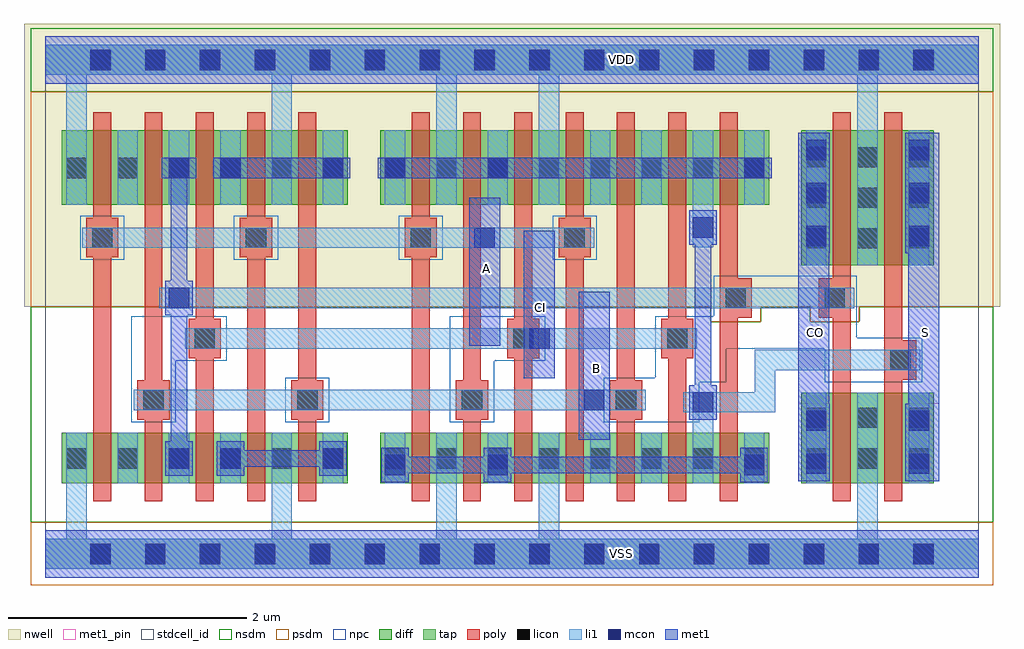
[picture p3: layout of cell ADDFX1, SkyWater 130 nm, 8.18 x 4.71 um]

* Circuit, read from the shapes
.subckt ADDFX1 A B CI CO S VDD VSS
XM1 n1 A VSS VSS sky130_fd_pr__nfet_01v8 w=0.425 l=0.15
XM2 n2 B n1 VSS sky130_fd_pr__nfet_01v8 w=0.425 l=0.15
XM3 n3 CI n2 VSS sky130_fd_pr__nfet_01v8 w=0.425 l=0.15
XM4 VSS A n3 VSS sky130_fd_pr__nfet_01v8 w=0.425 l=0.15
XM5 n3 B VSS VSS sky130_fd_pr__nfet_01v8 w=0.425 l=0.15
XM6 VSS A n4 VSS sky130_fd_pr__nfet_01v8 w=0.425 l=0.15
XM7 n4 B VSS VSS sky130_fd_pr__nfet_01v8 w=0.425 l=0.15
XM8 VSS CI n4 VSS sky130_fd_pr__nfet_01v8 w=0.425 l=0.15
XM9 n5 A VSS VSS sky130_fd_pr__nfet_01v8 w=0.425 l=0.15
XM10 n6 B n5 VSS sky130_fd_pr__nfet_01v8 w=0.425 l=0.15
XM11 n7 CI n6 VSS sky130_fd_pr__nfet_01v8 w=0.425 l=0.15
XM12 n4 n2 n7 VSS sky130_fd_pr__nfet_01v8 w=0.425 l=0.15
XM13 VSS n2 CO VSS sky130_fd_pr__nfet_01v8 w=0.76 l=0.15
XM14 S n7 VSS VSS sky130_fd_pr__nfet_01v8 w=0.76 l=0.15
XM15 n8 A VDD VDD sky130_fd_pr__pfet_01v8 w=0.625 l=0.15
XM16 n2 B n8 VDD sky130_fd_pr__pfet_01v8 w=0.625 l=0.15
XM17 n9 CI n2 VDD sky130_fd_pr__pfet_01v8 w=0.625 l=0.15
XM18 VDD A n9 VDD sky130_fd_pr__pfet_01v8 w=0.625 l=0.15
XM19 n9 B VDD VDD sky130_fd_pr__pfet_01v8 w=0.625 l=0.15
XM20 VDD A n10 VDD sky130_fd_pr__pfet_01v8 w=0.625 l=0.15
XM21 n10 B VDD VDD sky130_fd_pr__pfet_01v8 w=0.625 l=0.15
XM22 VDD CI n10 VDD sky130_fd_pr__pfet_01v8 w=0.625 l=0.15
XM23 n11 A VDD VDD sky130_fd_pr__pfet_01v8 w=0.625 l=0.15
XM24 n12 B n11 VDD sky130_fd_pr__pfet_01v8 w=0.625 l=0.15
XM25 n7 CI n12 VDD sky130_fd_pr__pfet_01v8 w=0.625 l=0.15
XM26 n10 n2 n7 VDD sky130_fd_pr__pfet_01v8 w=0.625 l=0.15
XM27 VDD n2 CO VDD sky130_fd_pr__pfet_01v8 w=1.13 l=0.15
XM28 S n7 VDD VDD sky130_fd_pr__pfet_01v8 w=1.13 l=0.15
.ends

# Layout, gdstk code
from math import pi, radians
import gdstk
lib = gdstk.Library(unit=1e-6, precision=1e-09)
def R(c, l, rs):  # rectangles x0, y0, x1, y1
    for r in rs: c.add(gdstk.rectangle(r[:2], r[2:], *l))
def A(c, l, x, y, w, h, nx, ny, dx, dy):  # array of equal rectangles
    R(c, l, [(x+i*dx, y+j*dy, x+i*dx+w, y+j*dy+h) for i in range(nx) for j in range(ny)])
def P(c, l, *ps):  # polygons
    for p in ps: c.add(gdstk.Polygon(p, *l))
nwell = (64, 20)
diff = (65, 20)
tap = (65, 44)
poly = (66, 20)
licon = (66, 44)
li1 = (67, 20)
mcon = (67, 44)
met1_pin = (68, 16)
met1 = (68, 20)
stdcell_id = (81, 4)
nsdm = (93, 44)
psdm = (94, 20)
npc = (95, 20)

pfet_01v8_cdns_716492285 = lib.new_cell('pfet_01v8_CDNS_7164922852212')
R(pfet_01v8_cdns_716492285, nwell, [(-0.405,-0.18,0.595,1.31)])
R(pfet_01v8_cdns_716492285, diff, [(-0.225,0,0,1.13), (0,0,0.15,1.13), (0.15,0,0.415,1.13)])
R(pfet_01v8_cdns_716492285, poly, [(0,-0.15,0.15,-0.095), (0,-0.095,0.15,0), (0,0,0.15,1.13), (0,1.13,0.15,1.225), (0,1.225,0.15,1.28)])
A(pfet_01v8_cdns_716492285, licon, -0.225, 0.14, 0.17, 0.17, 1, 3, 0, 0.34)
A(pfet_01v8_cdns_716492285, licon, 0.205, 0.14, 0.17, 0.17, 1, 3, 0, 0.34)
R(pfet_01v8_cdns_716492285, li1, [(-0.225,0,-0.055,1.13), (0.205,0,0.375,1.13)])
R(pfet_01v8_cdns_716492285, psdm, [(-0.235,-0.13,0.555,1.26)])

nfet_01v8_cdns_716492285 = lib.new_cell('nfet_01v8_CDNS_71649228522111')
R(nfet_01v8_cdns_716492285, diff, [(-0.225,0,0,0.425), (0,0,0.15,0.425), (0.15,0,0.375,0.425)])
R(nfet_01v8_cdns_716492285, poly, [(0,-0.15,0.15,-0.095), (0,-0.095,0.15,0), (0,0,0.15,0.425), (0,0.425,0.15,0.52), (0,0.52,0.15,0.575)])
R(nfet_01v8_cdns_716492285, licon, [(-0.225,0.125,-0.055,0.295), (0.205,0.125,0.375,0.295)])
R(nfet_01v8_cdns_716492285, li1, [(-0.225,0,-0.055,0.425), (0.205,0,0.375,0.425)])
R(nfet_01v8_cdns_716492285, nsdm, [(-0.235,-0.13,0.385,0.555)])

c_nfet_01v8_cdns_716492285 = lib.new_cell('nfet_01v8_CDNS_7164922852288')
R(c_nfet_01v8_cdns_716492285, diff, [(-0.055,0,0,0.425), (0,0,0.15,0.425), (0.15,0,0.205,0.425)])
R(c_nfet_01v8_cdns_716492285, poly, [(0,-0.15,0.15,-0.095), (0,-0.095,0.15,0), (0,0,0.15,0.425), (0,0.425,0.15,0.52), (0,0.52,0.15,0.575)])
R(c_nfet_01v8_cdns_716492285, nsdm, [(-0.065,-0.13,0.215,0.555)])

c_nfet_01v8_cdns_716492285_ = lib.new_cell('nfet_01v8_CDNS_716492285223')
R(c_nfet_01v8_cdns_716492285_, diff, [(-0.055,0,0,0.76), (0,0,0.15,0.76), (0.15,0,0.415,0.76)])
R(c_nfet_01v8_cdns_716492285_, poly, [(0,-0.15,0.15,-0.095), (0,-0.095,0.15,0), (0,0,0.15,0.76), (0,0.76,0.15,0.855), (0,0.855,0.15,0.91)])
R(c_nfet_01v8_cdns_716492285_, licon, [(0.205,0.125,0.375,0.295), (0.205,0.465,0.375,0.635)])
R(c_nfet_01v8_cdns_716492285_, li1, [(0.205,0,0.375,0.76)])
R(c_nfet_01v8_cdns_716492285_, nsdm, [(-0.065,-0.13,0.555,0.89)])

c_pfet_01v8_cdns_716492285 = lib.new_cell('pfet_01v8_CDNS_7164922852219')
R(c_pfet_01v8_cdns_716492285, nwell, [(-0.405,-0.18,0.595,0.805)])
R(c_pfet_01v8_cdns_716492285, diff, [(-0.225,0,0,0.625), (0,0,0.15,0.625), (0.15,0,0.415,0.625)])
R(c_pfet_01v8_cdns_716492285, poly, [(0,-0.15,0.15,-0.095), (0,-0.095,0.15,0), (0,0,0.15,0.625), (0,0.625,0.15,0.72), (0,0.72,0.15,0.775)])
R(c_pfet_01v8_cdns_716492285, licon, [(-0.225,0.225,-0.055,0.395), (0.205,0.225,0.375,0.395)])
R(c_pfet_01v8_cdns_716492285, li1, [(-0.225,0,-0.055,0.625), (0.205,0,0.375,0.625)])
R(c_pfet_01v8_cdns_716492285, psdm, [(-0.235,-0.13,0.555,0.755)])

c_pfet_01v8_cdns_716492285_ = lib.new_cell('pfet_01v8_CDNS_71649228522239')
R(c_pfet_01v8_cdns_716492285_, nwell, [(-0.445,-0.18,0.555,0.805)])
R(c_pfet_01v8_cdns_716492285_, diff, [(-0.265,0,0,0.625), (0,0,0.15,0.625), (0.15,0,0.375,0.625)])
R(c_pfet_01v8_cdns_716492285_, poly, [(0,-0.15,0.15,-0.095), (0,-0.095,0.15,0), (0,0,0.15,0.625), (0,0.625,0.15,0.72), (0,0.72,0.15,0.775)])
R(c_pfet_01v8_cdns_716492285_, licon, [(-0.225,0.225,-0.055,0.395)])
R(c_pfet_01v8_cdns_716492285_, li1, [(-0.225,0,-0.055,0.625)])
R(c_pfet_01v8_cdns_716492285_, psdm, [(-0.405,-0.13,0.385,0.755)])

c_pfet_01v8_cdns_716492285__ = lib.new_cell('pfet_01v8_CDNS_7164922852217')
R(c_pfet_01v8_cdns_716492285__, nwell, [(-0.235,-0.18,0.595,0.805)])
R(c_pfet_01v8_cdns_716492285__, diff, [(-0.055,0,0,0.625), (0,0,0.15,0.625), (0.15,0,0.415,0.625)])
R(c_pfet_01v8_cdns_716492285__, poly, [(0,-0.15,0.15,-0.095), (0,-0.095,0.15,0), (0,0,0.15,0.625), (0,0.625,0.15,0.72), (0,0.72,0.15,0.775)])
R(c_pfet_01v8_cdns_716492285__, licon, [(0.205,0.225,0.375,0.395)])
R(c_pfet_01v8_cdns_716492285__, li1, [(0.205,0,0.375,0.625)])
R(c_pfet_01v8_cdns_716492285__, psdm, [(-0.065,-0.13,0.555,0.755)])

c_pfet_01v8_cdns_716492285___ = lib.new_cell('pfet_01v8_CDNS_7164922852222')
R(c_pfet_01v8_cdns_716492285___, nwell, [(-0.235,-0.18,0.555,0.805)])
R(c_pfet_01v8_cdns_716492285___, diff, [(-0.055,0,0,0.625), (0,0,0.15,0.625), (0.15,0,0.375,0.625)])
R(c_pfet_01v8_cdns_716492285___, poly, [(0,-0.15,0.15,-0.095), (0,-0.095,0.15,0), (0,0,0.15,0.625), (0,0.625,0.15,0.72), (0,0.72,0.15,0.775)])
R(c_pfet_01v8_cdns_716492285___, licon, [(0.205,0.225,0.375,0.395)])
R(c_pfet_01v8_cdns_716492285___, li1, [(0.205,0,0.375,0.625)])
R(c_pfet_01v8_cdns_716492285___, psdm, [(-0.065,-0.13,0.385,0.755)])

c_pfet_01v8_cdns_716492285____ = lib.new_cell('pfet_01v8_CDNS_7164922852237')
R(c_pfet_01v8_cdns_716492285____, nwell, [(-0.405,-0.18,0.385,0.805)])
R(c_pfet_01v8_cdns_716492285____, diff, [(-0.225,0,0,0.625), (0,0,0.15,0.625), (0.15,0,0.205,0.625)])
R(c_pfet_01v8_cdns_716492285____, poly, [(0,-0.15,0.15,-0.095), (0,-0.095,0.15,0), (0,0,0.15,0.625), (0,0.625,0.15,0.72), (0,0.72,0.15,0.775)])
R(c_pfet_01v8_cdns_716492285____, licon, [(-0.225,0.225,-0.055,0.395)])
R(c_pfet_01v8_cdns_716492285____, li1, [(-0.225,0,-0.055,0.625)])
R(c_pfet_01v8_cdns_716492285____, psdm, [(-0.235,-0.13,0.215,0.755)])

c_pfet_01v8_cdns_716492285_____ = lib.new_cell('pfet_01v8_CDNS_7164922852248')
R(c_pfet_01v8_cdns_716492285_____, nwell, [(-0.405,-0.18,0.385,0.805)])
R(c_pfet_01v8_cdns_716492285_____, diff, [(-0.225,0,0,0.625), (0,0,0.15,0.625), (0.15,0,0.205,0.625)])
R(c_pfet_01v8_cdns_716492285_____, poly, [(0,-0.15,0.15,-0.095), (0,-0.095,0.15,0), (0,0,0.15,0.625), (0,0.625,0.15,0.72), (0,0.72,0.15,0.775)])
R(c_pfet_01v8_cdns_716492285_____, licon, [(-0.225,0.225,-0.055,0.395)])
R(c_pfet_01v8_cdns_716492285_____, li1, [(-0.225,0,-0.055,0.625)])
R(c_pfet_01v8_cdns_716492285_____, psdm, [(-0.235,-0.13,0.215,0.755)])

c_pfet_01v8_cdns_716492285______ = lib.new_cell('pfet_01v8_CDNS_716492285224')
R(c_pfet_01v8_cdns_716492285______, nwell, [(-0.235,-0.18,0.595,1.31)])
R(c_pfet_01v8_cdns_716492285______, diff, [(-0.055,0,0,1.13), (0,0,0.15,1.13), (0.15,0,0.415,1.13)])
R(c_pfet_01v8_cdns_716492285______, poly, [(0,-0.15,0.15,-0.095), (0,-0.095,0.15,0), (0,0,0.15,1.13), (0,1.13,0.15,1.225), (0,1.225,0.15,1.28)])
A(c_pfet_01v8_cdns_716492285______, licon, 0.205, 0.14, 0.17, 0.17, 1, 3, 0, 0.34)
R(c_pfet_01v8_cdns_716492285______, li1, [(0.205,0,0.375,1.13)])
R(c_pfet_01v8_cdns_716492285______, psdm, [(-0.065,-0.13,0.555,1.26)])

c_pfet_01v8_cdns_716492285_______ = lib.new_cell('pfet_01v8_CDNS_7164922852236')
R(c_pfet_01v8_cdns_716492285_______, nwell, [(-0.235,-0.18,0.555,0.805)])
R(c_pfet_01v8_cdns_716492285_______, diff, [(-0.055,0,0,0.625), (0,0,0.15,0.625), (0.15,0,0.375,0.625)])
R(c_pfet_01v8_cdns_716492285_______, poly, [(0,-0.15,0.15,-0.095), (0,-0.095,0.15,0), (0,0,0.15,0.625), (0,0.625,0.15,0.72), (0,0.72,0.15,0.775)])
R(c_pfet_01v8_cdns_716492285_______, licon, [(0.205,0.225,0.375,0.395)])
R(c_pfet_01v8_cdns_716492285_______, li1, [(0.205,0,0.375,0.625)])
R(c_pfet_01v8_cdns_716492285_______, psdm, [(-0.065,-0.13,0.385,0.755)])

c_pfet_01v8_cdns_716492285________ = lib.new_cell('pfet_01v8_CDNS_7164922852252')
R(c_pfet_01v8_cdns_716492285________, nwell, [(-0.405,-0.18,0.385,0.805)])
R(c_pfet_01v8_cdns_716492285________, diff, [(-0.225,0,0,0.625), (0,0,0.15,0.625), (0.15,0,0.205,0.625)])
R(c_pfet_01v8_cdns_716492285________, poly, [(0,-0.15,0.15,-0.095), (0,-0.095,0.15,0), (0,0,0.15,0.625), (0,0.625,0.15,0.72), (0,0.72,0.15,0.775)])
R(c_pfet_01v8_cdns_716492285________, licon, [(-0.225,0.225,-0.055,0.395)])
R(c_pfet_01v8_cdns_716492285________, li1, [(-0.225,0,-0.055,0.625)])
R(c_pfet_01v8_cdns_716492285________, psdm, [(-0.235,-0.13,0.215,0.755)])

c_pfet_01v8_cdns_716492285_________ = lib.new_cell('pfet_01v8_CDNS_7164922852227')
R(c_pfet_01v8_cdns_716492285_________, nwell, [(-0.235,-0.18,0.555,0.805)])
R(c_pfet_01v8_cdns_716492285_________, diff, [(-0.055,0,0,0.625), (0,0,0.15,0.625), (0.15,0,0.375,0.625)])
R(c_pfet_01v8_cdns_716492285_________, poly, [(0,-0.15,0.15,-0.095), (0,-0.095,0.15,0), (0,0,0.15,0.625), (0,0.625,0.15,0.72), (0,0.72,0.15,0.775)])
R(c_pfet_01v8_cdns_716492285_________, psdm, [(-0.065,-0.13,0.385,0.755)])

c_pfet_01v8_cdns_716492285__________ = lib.new_cell('pfet_01v8_CDNS_71649228522113')
R(c_pfet_01v8_cdns_716492285__________, nwell, [(-0.235,-0.18,0.555,0.805)])
R(c_pfet_01v8_cdns_716492285__________, diff, [(-0.055,0,0,0.625), (0,0,0.15,0.625), (0.15,0,0.375,0.625)])
R(c_pfet_01v8_cdns_716492285__________, poly, [(0,-0.15,0.15,-0.095), (0,-0.095,0.15,0), (0,0,0.15,0.625), (0,0.625,0.15,0.72), (0,0.72,0.15,0.775)])
R(c_pfet_01v8_cdns_716492285__________, psdm, [(-0.065,-0.13,0.385,0.755)])

c_pfet_01v8_cdns_716492285___________ = lib.new_cell('pfet_01v8_CDNS_716492285229')
R(c_pfet_01v8_cdns_716492285___________, nwell, [(-0.445,-0.18,0.385,0.805)])
R(c_pfet_01v8_cdns_716492285___________, diff, [(-0.265,0,0,0.625), (0,0,0.15,0.625), (0.15,0,0.205,0.625)])
R(c_pfet_01v8_cdns_716492285___________, poly, [(0,-0.15,0.15,-0.095), (0,-0.095,0.15,0), (0,0,0.15,0.625), (0,0.625,0.15,0.72), (0,0.72,0.15,0.775)])
R(c_pfet_01v8_cdns_716492285___________, licon, [(-0.225,0.225,-0.055,0.395)])
R(c_pfet_01v8_cdns_716492285___________, li1, [(-0.225,0,-0.055,0.625)])
R(c_pfet_01v8_cdns_716492285___________, psdm, [(-0.405,-0.13,0.215,0.755)])

c_nfet_01v8_cdns_716492285__ = lib.new_cell('nfet_01v8_CDNS_71649228522196')
R(c_nfet_01v8_cdns_716492285__, diff, [(-0.225,0,0,0.425), (0,0,0.15,0.425), (0.15,0,0.375,0.425)])
R(c_nfet_01v8_cdns_716492285__, poly, [(0,-0.15,0.15,-0.095), (0,-0.095,0.15,0), (0,0,0.15,0.425), (0,0.425,0.15,0.52), (0,0.52,0.15,0.575)])
R(c_nfet_01v8_cdns_716492285__, licon, [(-0.225,0.125,-0.055,0.295), (0.205,0.125,0.375,0.295)])
R(c_nfet_01v8_cdns_716492285__, li1, [(-0.225,0,-0.055,0.425), (0.205,0,0.375,0.425)])
R(c_nfet_01v8_cdns_716492285__, nsdm, [(-0.235,-0.13,0.385,0.555)])

c_nfet_01v8_cdns_716492285___ = lib.new_cell('nfet_01v8_CDNS_716492285228')
R(c_nfet_01v8_cdns_716492285___, diff, [(-0.055,0,0,0.425), (0,0,0.15,0.425), (0.15,0,0.415,0.425)])
R(c_nfet_01v8_cdns_716492285___, poly, [(0,-0.15,0.15,-0.095), (0,-0.095,0.15,0), (0,0,0.15,0.425), (0,0.425,0.15,0.52), (0,0.52,0.15,0.575)])
R(c_nfet_01v8_cdns_716492285___, licon, [(0.205,0.125,0.375,0.295)])
R(c_nfet_01v8_cdns_716492285___, li1, [(0.205,0,0.375,0.425)])
R(c_nfet_01v8_cdns_716492285___, nsdm, [(-0.065,-0.13,0.555,0.555)])

c_nfet_01v8_cdns_716492285____ = lib.new_cell('nfet_01v8_CDNS_7164922852230')
R(c_nfet_01v8_cdns_716492285____, diff, [(-0.055,0,0,0.425), (0,0,0.15,0.425), (0.15,0,0.375,0.425)])
R(c_nfet_01v8_cdns_716492285____, poly, [(0,-0.15,0.15,-0.095), (0,-0.095,0.15,0), (0,0,0.15,0.425), (0,0.425,0.15,0.52), (0,0.52,0.15,0.575)])
R(c_nfet_01v8_cdns_716492285____, licon, [(0.205,0.125,0.375,0.295)])
R(c_nfet_01v8_cdns_716492285____, li1, [(0.205,0,0.375,0.425)])
R(c_nfet_01v8_cdns_716492285____, nsdm, [(-0.065,-0.13,0.385,0.555)])

c_nfet_01v8_cdns_716492285_____ = lib.new_cell('nfet_01v8_CDNS_7164922852250')
R(c_nfet_01v8_cdns_716492285_____, diff, [(-0.225,0,0,0.425), (0,0,0.15,0.425), (0.15,0,0.205,0.425)])
R(c_nfet_01v8_cdns_716492285_____, poly, [(0,-0.15,0.15,-0.095), (0,-0.095,0.15,0), (0,0,0.15,0.425), (0,0.425,0.15,0.52), (0,0.52,0.15,0.575)])
R(c_nfet_01v8_cdns_716492285_____, licon, [(-0.225,0.125,-0.055,0.295)])
R(c_nfet_01v8_cdns_716492285_____, li1, [(-0.225,0,-0.055,0.425)])
R(c_nfet_01v8_cdns_716492285_____, nsdm, [(-0.235,-0.13,0.215,0.555)])

c_nfet_01v8_cdns_716492285______ = lib.new_cell('nfet_01v8_CDNS_716492285227')
R(c_nfet_01v8_cdns_716492285______, diff, [(-0.225,0,0,0.76), (0,0,0.15,0.76), (0.15,0,0.415,0.76)])
R(c_nfet_01v8_cdns_716492285______, poly, [(0,-0.15,0.15,-0.095), (0,-0.095,0.15,0), (0,0,0.15,0.76), (0,0.76,0.15,0.855), (0,0.855,0.15,0.91)])
R(c_nfet_01v8_cdns_716492285______, licon, [(-0.225,0.125,-0.055,0.295), (0.205,0.125,0.375,0.295), (-0.225,0.465,-0.055,0.635), (0.205,0.465,0.375,0.635)])
R(c_nfet_01v8_cdns_716492285______, li1, [(-0.225,0,-0.055,0.76), (0.205,0,0.375,0.76)])
R(c_nfet_01v8_cdns_716492285______, nsdm, [(-0.235,-0.13,0.555,0.89)])

c_nfet_01v8_cdns_716492285_______ = lib.new_cell('nfet_01v8_CDNS_71649228522240')
R(c_nfet_01v8_cdns_716492285_______, diff, [(-0.055,0,0,0.425), (0,0,0.15,0.425), (0.15,0,0.205,0.425)])
R(c_nfet_01v8_cdns_716492285_______, poly, [(0,-0.15,0.15,-0.095), (0,-0.095,0.15,0), (0,0,0.15,0.425), (0,0.425,0.15,0.52), (0,0.52,0.15,0.575)])
R(c_nfet_01v8_cdns_716492285_______, nsdm, [(-0.065,-0.13,0.215,0.555)])

c_nfet_01v8_cdns_716492285________ = lib.new_cell('nfet_01v8_CDNS_7164922852292')
R(c_nfet_01v8_cdns_716492285________, diff, [(-0.265,0,0,0.425), (0,0,0.15,0.425), (0.15,0,0.375,0.425)])
R(c_nfet_01v8_cdns_716492285________, poly, [(0,-0.15,0.15,-0.095), (0,-0.095,0.15,0), (0,0,0.15,0.425), (0,0.425,0.15,0.52), (0,0.52,0.15,0.575)])
R(c_nfet_01v8_cdns_716492285________, licon, [(-0.225,0.125,-0.055,0.295)])
R(c_nfet_01v8_cdns_716492285________, li1, [(-0.225,0,-0.055,0.425)])
R(c_nfet_01v8_cdns_716492285________, nsdm, [(-0.405,-0.13,0.385,0.555)])

c_nfet_01v8_cdns_716492285_________ = lib.new_cell('nfet_01v8_CDNS_71649228522236')
R(c_nfet_01v8_cdns_716492285_________, diff, [(-0.225,0,0,0.425), (0,0,0.15,0.425), (0.15,0,0.375,0.425)])
R(c_nfet_01v8_cdns_716492285_________, poly, [(0,-0.15,0.15,-0.095), (0,-0.095,0.15,0), (0,0,0.15,0.425), (0,0.425,0.15,0.52), (0,0.52,0.15,0.575)])
R(c_nfet_01v8_cdns_716492285_________, nsdm, [(-0.235,-0.13,0.385,0.555)])

c_nfet_01v8_cdns_716492285__________ = lib.new_cell('nfet_01v8_CDNS_716492285226')
R(c_nfet_01v8_cdns_716492285__________, diff, [(-0.225,0,0,0.425), (0,0,0.15,0.425), (0.15,0,0.415,0.425)])
R(c_nfet_01v8_cdns_716492285__________, poly, [(0,-0.15,0.15,-0.095), (0,-0.095,0.15,0), (0,0,0.15,0.425), (0,0.425,0.15,0.52), (0,0.52,0.15,0.575)])
R(c_nfet_01v8_cdns_716492285__________, licon, [(-0.225,0.125,-0.055,0.295), (0.205,0.125,0.375,0.295)])
R(c_nfet_01v8_cdns_716492285__________, li1, [(-0.225,0,-0.055,0.425), (0.205,0,0.375,0.425)])
R(c_nfet_01v8_cdns_716492285__________, nsdm, [(-0.235,-0.13,0.555,0.555)])

c_nfet_01v8_cdns_716492285___________ = lib.new_cell('nfet_01v8_CDNS_7164922852211')
R(c_nfet_01v8_cdns_716492285___________, diff, [(-0.265,0,0,0.425), (0,0,0.15,0.425), (0.15,0,0.205,0.425)])
R(c_nfet_01v8_cdns_716492285___________, poly, [(0,-0.15,0.15,-0.095), (0,-0.095,0.15,0), (0,0,0.15,0.425), (0,0.425,0.15,0.52), (0,0.52,0.15,0.575)])
R(c_nfet_01v8_cdns_716492285___________, licon, [(-0.225,0.125,-0.055,0.295)])
R(c_nfet_01v8_cdns_716492285___________, li1, [(-0.225,0,-0.055,0.425)])
R(c_nfet_01v8_cdns_716492285___________, nsdm, [(-0.405,-0.13,0.215,0.555)])

c_nfet_01v8_cdns_716492285____________ = lib.new_cell('nfet_01v8_CDNS_7164922852254')
R(c_nfet_01v8_cdns_716492285____________, diff, [(-0.055,0,0,0.425), (0,0,0.15,0.425), (0.15,0,0.205,0.425)])
R(c_nfet_01v8_cdns_716492285____________, poly, [(0,-0.15,0.15,-0.095), (0,-0.095,0.15,0), (0,0,0.15,0.425), (0,0.425,0.15,0.52), (0,0.52,0.15,0.575)])
R(c_nfet_01v8_cdns_716492285____________, nsdm, [(-0.065,-0.13,0.215,0.555)])

l1m1_c_cdns_716492285224 = lib.new_cell('L1M1_C_CDNS_7164922852240')
R(l1m1_c_cdns_716492285224, li1, [(-0.085,-0.165,0.085,0.165)])
R(l1m1_c_cdns_716492285224, mcon, [(-0.085,-0.085,0.085,0.085)])
R(l1m1_c_cdns_716492285224, met1, [(-0.115,-0.085,0.115,0.085)])

c_l1m1_c_cdns_716492285224 = lib.new_cell('L1M1_C_CDNS_7164922852248')
R(c_l1m1_c_cdns_716492285224, li1, [(-0.085,-0.145,0.085,0.165)])
R(c_l1m1_c_cdns_716492285224, mcon, [(-0.085,-0.085,0.085,0.085)])
R(c_l1m1_c_cdns_716492285224, met1, [(-0.115,-0.145,0.115,0.145)])

l1m1_c_cdns_716492285222 = lib.new_cell('L1M1_C_CDNS_716492285222')
R(l1m1_c_cdns_716492285222, li1, [(-0.085,-0.165,0.085,0.165)])
R(l1m1_c_cdns_716492285222, mcon, [(-0.085,-0.085,0.085,0.085)])
R(l1m1_c_cdns_716492285222, met1, [(-0.115,-0.145,0.115,0.145)])

pyl1con_c_cdns_716492285 = lib.new_cell('PYL1CON_C_CDNS_716492285220')
R(pyl1con_c_cdns_716492285, poly, [(-0.135,-0.165,0.135,0.165)])
R(pyl1con_c_cdns_716492285, licon, [(-0.085,-0.085,0.085,0.085)])
R(pyl1con_c_cdns_716492285, npc, [(-0.185,-0.185,0.185,0.185)])

l1m1_c_cdns_716492285223 = lib.new_cell('L1M1_C_CDNS_716492285223')
R(l1m1_c_cdns_716492285223, li1, [(-0.165,-0.085,0.165,0.085)])
R(l1m1_c_cdns_716492285223, mcon, [(-0.085,-0.085,0.085,0.085)])
R(l1m1_c_cdns_716492285223, met1, [(-0.115,-0.145,0.115,0.145)])

licondiff_c_cdns_7164922 = lib.new_cell('LICONDIFF_C_CDNS_7164922852213')
R(licondiff_c_cdns_7164922, diff, [(-0.125,-0.145,0.125,0.145)])
R(licondiff_c_cdns_7164922, licon, [(-0.085,-0.085,0.085,0.085), (-0.085,-0.085,0.085,0.085)])

l1m1_c_cdns_716492285225 = lib.new_cell('L1M1_C_CDNS_716492285225')
R(l1m1_c_cdns_716492285225, li1, [(-0.085,-0.345,0.085,0.345)])
R(l1m1_c_cdns_716492285225, mcon, [(-0.085,-0.265,0.085,-0.095), (-0.085,0.095,0.085,0.265)])
R(l1m1_c_cdns_716492285225, met1, [(-0.115,-0.325,0.115,0.325)])

c_l1m1_c_cdns_716492285224_ = lib.new_cell('L1M1_C_CDNS_716492285224')
R(c_l1m1_c_cdns_716492285224_, li1, [(-0.085,-0.525,0.085,0.525)])
A(c_l1m1_c_cdns_716492285224_, mcon, -0.085, -0.445, 0.17, 0.17, 1, 3, 0, 0.36)
R(c_l1m1_c_cdns_716492285224_, met1, [(-0.115,-0.505,0.115,0.505)])

c_l1m1_c_cdns_716492285224__ = lib.new_cell('L1M1_C_CDNS_7164922852249')
R(c_l1m1_c_cdns_716492285224__, li1, [(-0.085,-0.165,0.085,0.165)])
R(c_l1m1_c_cdns_716492285224__, mcon, [(-0.085,-0.085,0.085,0.085)])
R(c_l1m1_c_cdns_716492285224__, met1, [(-0.115,-0.085,0.085,0.085)])

addfx1 = lib.new_cell('ADDFX1')
R(addfx1, nwell, [(-0.18,2.07,8,4.305), (-0.18,3.875,8,4.445)])
A(addfx1, licon, 0.375, -0.085, 0.17, 0.17, 16, 2, 0.46, 4.14)
A(addfx1, mcon, 0.375, -0.085, 0.17, 0.17, 16, 2, 0.46, 4.14)
R(addfx1, met1_pin, [(4.47,0.955,4.73,2.195), (6.31,1.26,6.57,3.53), (7.23,1.26,7.49,3.53), (4.01,1.47,4.27,2.71), (3.55,1.745,3.81,2.985)])
R(addfx1, stdcell_id, [(0,-0.2,7.82,4.34)])
R(addfx1, nsdm, [(-0.125,3.875,7.945,4.405), (-0.125,3.93,7.945,4.35)])
P(addfx1, nsdm, [(7.945,2.07),(6.82,2.07),(6.82,1.945),(6.41,1.945),(6.41,2.07),(5.995,2.07),(5.995,1.945),(5.575,1.945),(5.575,2.07),(-0.125,2.07),(-0.125,0.265),(7.945,0.265)])
R(addfx1, psdm, [(-0.125,-0.265,7.945,0.265), (-0.125,-0.21,7.945,0.21)])
P(addfx1, psdm, [(7.945,3.875),(-0.125,3.875),(-0.125,2.07),(5.575,2.07),(5.575,1.945),(5.995,1.945),(5.995,2.07),(6.41,2.07),(6.41,1.945),(6.82,1.945),(6.82,2.07),(7.945,2.07)])
P(addfx1, npc, [(4.19,1.99),(3.39,1.99),(3.39,1.105),(3.76,1.105),(3.76,1.62),(4.19,1.62)],
  [(7.35,1.81),(6.8,1.81),(6.8,2.33),(5.6,2.33),(5.6,1.99),(5.11,1.99),(5.11,1.475),(4.68,1.475),(4.68,1.105),(5.48,1.105),(5.48,1.44),(5.705,1.44),(5.705,1.72),(6.53,1.72),(6.53,1.44),(7.35,1.44)],
  [(1.52,1.99),(0.72,1.99),(0.72,1.105),(1.09,1.105),(1.09,1.62),(1.52,1.62)])
addfx1.add(gdstk.FlexPath([(7.105,2.27),(7.105,1.34)], 0.15, ends="flush", simple_path=True, layer=66, datatype=20))  # poly
addfx1.add(gdstk.FlexPath([(6.675,2.215),(6.675,1.5)], 0.15, ends=(0.075, 0), simple_path=True, layer=66, datatype=20))  # poly
addfx1.add(gdstk.FlexPath([(5.725,2.775),(5.725,1.165)], 0.15, ends="flush", simple_path=True, layer=66, datatype=20))  # poly
addfx1.add(gdstk.FlexPath([(5.295,2.775),(5.295,1.165)], 0.15, ends="flush", simple_path=True, layer=66, datatype=20))  # poly
addfx1.add(gdstk.FlexPath([(4.865,2.775),(4.865,1.165)], 0.15, ends="flush", simple_path=True, layer=66, datatype=20))  # poly
addfx1.add(gdstk.FlexPath([(4.435,2.775),(4.435,1.165)], 0.15, ends="flush", simple_path=True, layer=66, datatype=20))  # poly
addfx1.add(gdstk.FlexPath([(4.005,2.775),(4.005,1.165)], 0.15, ends="flush", simple_path=True, layer=66, datatype=20))  # poly
addfx1.add(gdstk.FlexPath([(3.575,2.775),(3.575,1.165)], 0.15, ends="flush", simple_path=True, layer=66, datatype=20))  # poly
addfx1.add(gdstk.FlexPath([(3.145,2.775),(3.145,1.165)], 0.15, ends="flush", simple_path=True, layer=66, datatype=20))  # poly
addfx1.add(gdstk.FlexPath([(2.195,2.775),(2.195,1.165)], 0.15, ends="flush", simple_path=True, layer=66, datatype=20))  # poly
addfx1.add(gdstk.FlexPath([(1.765,2.775),(1.765,1.165)], 0.15, ends="flush", simple_path=True, layer=66, datatype=20))  # poly
addfx1.add(gdstk.FlexPath([(1.335,2.775),(1.335,1.165)], 0.15, ends="flush", simple_path=True, layer=66, datatype=20))  # poly
addfx1.add(gdstk.FlexPath([(0.905,2.775),(0.905,1.165)], 0.15, ends="flush", simple_path=True, layer=66, datatype=20))  # poly
addfx1.add(gdstk.FlexPath([(0.475,2.775),(0.475,1.165)], 0.15, ends="flush", simple_path=True, layer=66, datatype=20))  # poly
addfx1.add(gdstk.FlexPath([(4.22,0),(6.89,0)], 0.25, ends=(0.085, 0.085), simple_path=True, layer=67, datatype=20))  # li1
addfx1.add(gdstk.FlexPath([(6.89,0.59),(6.89,0)], 0.17, ends=(0, 0.125), simple_path=True, layer=67, datatype=20))  # li1
addfx1.add(gdstk.FlexPath([(3.36,0),(4.22,0)], 0.25, ends=(0.085, 0.085), simple_path=True, layer=67, datatype=20))  # li1
addfx1.add(gdstk.FlexPath([(4.22,0.59),(4.22,0)], 0.17, ends=(0, 0.125), simple_path=True, layer=67, datatype=20))  # li1
addfx1.add(gdstk.FlexPath([(6.89,0),(7.82,0)], 0.25, ends=(0.085, 0), simple_path=True, layer=67, datatype=20))  # li1
addfx1.add(gdstk.FlexPath([(0,4.14),(7.82,4.14)], 0.25, ends="flush", simple_path=True, layer=67, datatype=20))  # li1
addfx1.add(gdstk.FlexPath([(5.08,0.59),(5.08,1.015)], 0.17, ends="flush", simple_path=True, layer=67, datatype=20))  # li1
addfx1.add(gdstk.FlexPath([(4.65,0.59),(4.65,1.015)], 0.17, ends="flush", simple_path=True, layer=67, datatype=20))  # li1
addfx1.add(gdstk.FlexPath([(0.69,0.59),(0.69,1.015)], 0.17, ends="flush", simple_path=True, layer=67, datatype=20))  # li1
addfx1.add(gdstk.FlexPath([(5.08,2.925),(5.08,3.55)], 0.17, ends="flush", simple_path=True, layer=67, datatype=20))  # li1
addfx1.add(gdstk.FlexPath([(4.65,2.925),(4.65,3.55)], 0.17, ends="flush", simple_path=True, layer=67, datatype=20))  # li1
addfx1.add(gdstk.FlexPath([(0.69,2.925),(0.69,3.55)], 0.17, ends="flush", simple_path=True, layer=67, datatype=20))  # li1
addfx1.add(gdstk.FlexPath([(0.31,2.65),(4.6,2.65)], 0.17, ends="flush", simple_path=True, layer=67, datatype=20))  # li1
addfx1.add(gdstk.FlexPath([(5.03,1.29),(0.74,1.29)], 0.17, ends="flush", simple_path=True, layer=67, datatype=20))  # li1
addfx1.add(gdstk.FlexPath([(1.17,1.805),(5.46,1.805)], 0.17, ends="flush", simple_path=True, layer=67, datatype=20))  # li1
addfx1.add(gdstk.FlexPath([(7.33,1.625),(6.03,1.625),(6.03,1.27),(5.51,1.27),(5.51,1.015)], 0.17, ends="flush", simple_path=True, layer=67, datatype=20))  # li1
addfx1.add(gdstk.FlexPath([(6.78,2.145),(1.12,2.145)], 0.17, ends="flush", simple_path=True, layer=67, datatype=20))  # li1
addfx1.add(gdstk.FlexPath([(5.51,2.735),(5.51,2.925)], 0.17, ends="flush", simple_path=True, layer=67, datatype=20))  # li1
addfx1.add(gdstk.FlexPath([(0.26,3.55),(0.26,4.135)], 0.17, ends="flush", simple_path=True, layer=67, datatype=20))  # li1
addfx1.add(gdstk.FlexPath([(1.98,3.55),(1.98,4.135)], 0.17, ends="flush", simple_path=True, layer=67, datatype=20))  # li1
addfx1.add(gdstk.FlexPath([(3.36,3.55),(3.36,4.13)], 0.17, ends="flush", simple_path=True, layer=67, datatype=20))  # li1
addfx1.add(gdstk.FlexPath([(4.22,3.55),(4.22,4.135)], 0.17, ends="flush", simple_path=True, layer=67, datatype=20))  # li1
addfx1.add(gdstk.FlexPath([(6.89,3.55),(6.89,4.13)], 0.17, ends="flush", simple_path=True, layer=67, datatype=20))  # li1
addfx1.add(gdstk.FlexPath([(3.36,0.59),(3.36,0)], 0.17, ends=(0, 0.125), simple_path=True, layer=67, datatype=20))  # li1
addfx1.add(gdstk.FlexPath([(0.26,0),(1.98,0)], 0.25, ends=(0.085, 0.085), simple_path=True, layer=67, datatype=20))  # li1
addfx1.add(gdstk.FlexPath([(1.98,0.59),(1.98,0)], 0.17, ends=(0, 0.125), simple_path=True, layer=67, datatype=20))  # li1
addfx1.add(gdstk.FlexPath([(0,0),(0.26,0)], 0.25, ends=(0, 0.085), simple_path=True, layer=67, datatype=20))  # li1
addfx1.add(gdstk.FlexPath([(0.26,0.59),(0.26,0)], 0.17, ends=(0, 0.125), simple_path=True, layer=67, datatype=20))  # li1
addfx1.add(gdstk.FlexPath([(1.98,0),(3.36,0)], 0.25, ends=(0.085, 0.085), simple_path=True, layer=67, datatype=20))  # li1
addfx1.add(gdstk.FlexPath([(1.12,3.235),(1.265,3.235)], 0.17, ends="flush", simple_path=True, layer=68, datatype=20))  # met1
addfx1.add(gdstk.FlexPath([(1.12,3.235),(0.975,3.235)], 0.17, ends=(0.07, 0), simple_path=True, layer=68, datatype=20))  # met1
addfx1.add(gdstk.FlexPath([(0,0),(7.82,0)], 0.4, ends="flush", simple_path=True, layer=68, datatype=20))  # met1
addfx1.add(gdstk.FlexPath([(0,4.14),(7.82,4.14)], 0.4, ends="flush", simple_path=True, layer=68, datatype=20))  # met1
addfx1.add(gdstk.FlexPath([(3.68,2.985),(3.68,1.745)], 0.26, ends="flush", simple_path=True, layer=68, datatype=20))  # met1
addfx1.add(gdstk.FlexPath([(4.14,1.47),(4.14,2.71)], 0.26, ends="flush", simple_path=True, layer=68, datatype=20))  # met1
addfx1.add(gdstk.FlexPath([(6.44,0.61),(6.44,3.53)], 0.26, ends="flush", simple_path=True, layer=68, datatype=20))  # met1
addfx1.add(gdstk.FlexPath([(5.51,1.205),(5.51,2.735)], 0.14, ends="flush", simple_path=True, layer=68, datatype=20))  # met1
addfx1.add(gdstk.FlexPath([(1.12,0.8),(1.12,3.235)], 0.14, ends=(0, 0.085), simple_path=True, layer=68, datatype=20))  # met1
addfx1.add(gdstk.FlexPath([(5.94,0.745),(2.93,0.745)], 0.14, ends="flush", simple_path=True, layer=68, datatype=20))  # met1
addfx1.add(gdstk.FlexPath([(2.41,0.8),(1.55,0.8)], 0.14, ends="flush", simple_path=True, layer=68, datatype=20))  # met1
addfx1.add(gdstk.FlexPath([(6.085,3.235),(2.785,3.235)], 0.17, ends="flush", simple_path=True, layer=68, datatype=20))  # met1
addfx1.add(gdstk.FlexPath([(1.405,3.235),(2.555,3.235)], 0.17, ends="flush", simple_path=True, layer=68, datatype=20))  # met1
addfx1.add(gdstk.FlexPath([(7.36,0.61),(7.36,3.53)], 0.26, ends="flush", simple_path=True, layer=68, datatype=20))  # met1
addfx1.add(gdstk.FlexPath([(4.6,0.955),(4.6,2.195)], 0.26, ends="flush", simple_path=True, layer=68, datatype=20))  # met1
addfx1.add(gdstk.FlexPath([(0,4.14),(7.82,4.14)], 0.4, ends="flush", simple_path=True, layer=68, datatype=16))  # met1_pin
addfx1.add(gdstk.FlexPath([(0,0),(7.82,0)], 0.4, ends="flush", simple_path=True, layer=68, datatype=16))  # met1_pin
addfx1.add(gdstk.FlexPath([(0,0),(7.82,0)], 0.25, ends="flush", simple_path=True, layer=65, datatype=44))  # tap
addfx1.add(gdstk.FlexPath([(0,4.14),(7.82,4.14)], 0.25, ends="flush", simple_path=True, layer=65, datatype=44))  # tap
addfx1.add(gdstk.Reference(pfet_01v8_cdns_716492285, (6.75,2.42), rotation=pi, x_reflection=True))
addfx1.add(gdstk.Reference(nfet_01v8_cdns_716492285, (4.08,0.59), rotation=pi, x_reflection=True))
addfx1.add(gdstk.Reference(c_nfet_01v8_cdns_716492285, (4.36,0.59)))
addfx1.add(gdstk.Reference(c_nfet_01v8_cdns_716492285_, (7.03,0.59)))
addfx1.add(gdstk.Reference(c_pfet_01v8_cdns_716492285, (3.22,2.925), rotation=pi, x_reflection=True))
addfx1.add(gdstk.Reference(c_pfet_01v8_cdns_716492285_, (0.4,2.925)))
addfx1.add(gdstk.Reference(c_pfet_01v8_cdns_716492285__, (2.12,2.925)))
addfx1.add(gdstk.Reference(c_pfet_01v8_cdns_716492285___, (5.22,2.925)))
addfx1.add(gdstk.Reference(c_pfet_01v8_cdns_716492285___, (0.83,2.925)))
addfx1.add(gdstk.Reference(c_pfet_01v8_cdns_716492285____, (1.41,2.925), rotation=pi, x_reflection=True))
addfx1.add(gdstk.Reference(c_pfet_01v8_cdns_716492285_____, (1.84,2.925), rotation=pi, x_reflection=True))
addfx1.add(gdstk.Reference(c_pfet_01v8_cdns_716492285______, (7.03,2.42)))
addfx1.add(gdstk.Reference(c_pfet_01v8_cdns_716492285_______, (3.5,2.925)))
addfx1.add(gdstk.Reference(c_pfet_01v8_cdns_716492285________, (4.08,2.925), rotation=pi, x_reflection=True))
addfx1.add(gdstk.Reference(c_pfet_01v8_cdns_716492285_________, (4.36,2.925)))
addfx1.add(gdstk.Reference(c_pfet_01v8_cdns_716492285__________, (4.79,2.925)))
addfx1.add(gdstk.Reference(c_pfet_01v8_cdns_716492285___________, (5.8,2.925), rotation=pi, x_reflection=True))
addfx1.add(gdstk.Reference(c_nfet_01v8_cdns_716492285__, (1.41,0.59), rotation=pi, x_reflection=True))
addfx1.add(gdstk.Reference(c_nfet_01v8_cdns_716492285___, (2.12,0.59)))
addfx1.add(gdstk.Reference(c_nfet_01v8_cdns_716492285____, (5.22,0.59)))
addfx1.add(gdstk.Reference(c_nfet_01v8_cdns_716492285_____, (1.84,0.59), rotation=pi, x_reflection=True))
addfx1.add(gdstk.Reference(c_nfet_01v8_cdns_716492285______, (6.75,0.59), rotation=pi, x_reflection=True))
addfx1.add(gdstk.Reference(c_nfet_01v8_cdns_716492285_______, (3.5,0.59)))
addfx1.add(gdstk.Reference(c_nfet_01v8_cdns_716492285________, (0.4,0.59)))
addfx1.add(gdstk.Reference(c_nfet_01v8_cdns_716492285_________, (4.79,0.59)))
addfx1.add(gdstk.Reference(c_nfet_01v8_cdns_716492285__________, (3.22,0.59), rotation=pi, x_reflection=True))
addfx1.add(gdstk.Reference(c_nfet_01v8_cdns_716492285___________, (5.8,0.59), rotation=pi, x_reflection=True))
addfx1.add(gdstk.Reference(c_nfet_01v8_cdns_716492285____________, (0.83,0.59)))
addfx1.add(gdstk.Reference(l1m1_c_cdns_716492285224, (3.79,3.235)))
addfx1.add(gdstk.Reference(l1m1_c_cdns_716492285224, (2.93,3.235)))
addfx1.add(gdstk.Reference(l1m1_c_cdns_716492285224, (2.41,3.235)))
addfx1.add(gdstk.Reference(l1m1_c_cdns_716492285224, (1.55,3.235)))
addfx1.add(gdstk.Reference(l1m1_c_cdns_716492285224, (5.94,3.235)))
addfx1.add(gdstk.Reference(c_l1m1_c_cdns_716492285224, (5.94,0.745)))
addfx1.add(gdstk.Reference(c_l1m1_c_cdns_716492285224, (3.79,0.745)))
addfx1.add(gdstk.Reference(c_l1m1_c_cdns_716492285224, (2.93,0.745)))
addfx1.add(gdstk.Reference(l1m1_c_cdns_716492285222, (5.51,2.735)))
addfx1.add(gdstk.Reference(l1m1_c_cdns_716492285222, (1.12,0.8)))
addfx1.add(gdstk.Reference(l1m1_c_cdns_716492285222, (2.41,0.8)))
addfx1.add(gdstk.Reference(l1m1_c_cdns_716492285222, (1.55,0.8)))
addfx1.add(gdstk.Reference(pyl1con_c_cdns_716492285, (4.865,1.29), x_reflection=True))
addfx1.add(gdstk.Reference(pyl1con_c_cdns_716492285, (3.575,1.29), x_reflection=True))
addfx1.add(gdstk.Reference(pyl1con_c_cdns_716492285, (2.195,1.29), x_reflection=True))
addfx1.add(gdstk.Reference(pyl1con_c_cdns_716492285, (0.905,1.29), x_reflection=True))
addfx1.add(gdstk.Reference(pyl1con_c_cdns_716492285, (4.435,2.65), x_reflection=True))
addfx1.add(gdstk.Reference(pyl1con_c_cdns_716492285, (3.145,2.65), x_reflection=True))
addfx1.add(gdstk.Reference(pyl1con_c_cdns_716492285, (0.475,2.65), x_reflection=True))
addfx1.add(gdstk.Reference(pyl1con_c_cdns_716492285, (1.765,2.65), x_reflection=True))
addfx1.add(gdstk.Reference(pyl1con_c_cdns_716492285, (5.785,2.145), x_reflection=True))
addfx1.add(gdstk.Reference(pyl1con_c_cdns_716492285, (4.005,1.805), x_reflection=True))
addfx1.add(gdstk.Reference(pyl1con_c_cdns_716492285, (1.335,1.805), x_reflection=True))
addfx1.add(gdstk.Reference(pyl1con_c_cdns_716492285, (6.615,2.145), x_reflection=True))
addfx1.add(gdstk.Reference(pyl1con_c_cdns_716492285, (5.295,1.805), x_reflection=True))
addfx1.add(gdstk.Reference(pyl1con_c_cdns_716492285, (7.165,1.625), x_reflection=True))
addfx1.add(gdstk.Reference(l1m1_c_cdns_716492285223, (4.14,1.805), x_reflection=True))
addfx1.add(gdstk.Reference(l1m1_c_cdns_716492285223, (1.12,2.145)))
addfx1.add(gdstk.Reference(l1m1_c_cdns_716492285223, (5.51,1.27), x_reflection=True))
addfx1.add(gdstk.Reference(l1m1_c_cdns_716492285223, (3.68,2.65)))
addfx1.add(gdstk.Reference(l1m1_c_cdns_716492285223, (4.6,1.29), x_reflection=True))
addfx1.add(gdstk.Reference(licondiff_c_cdns_7164922, (5.08,0.8)))
addfx1.add(gdstk.Reference(licondiff_c_cdns_7164922, (4.65,0.8)))
addfx1.add(gdstk.Reference(licondiff_c_cdns_7164922, (0.69,3.235)))
addfx1.add(gdstk.Reference(licondiff_c_cdns_7164922, (0.69,0.8)))
addfx1.add(gdstk.Reference(licondiff_c_cdns_7164922, (4.65,3.235)))
addfx1.add(gdstk.Reference(licondiff_c_cdns_7164922, (5.08,3.235)))
addfx1.add(gdstk.Reference(l1m1_c_cdns_716492285225, (6.46,0.935)))
addfx1.add(gdstk.Reference(l1m1_c_cdns_716492285225, (7.32,0.935)))
addfx1.add(gdstk.Reference(c_l1m1_c_cdns_716492285224_, (6.46,3.025)))
addfx1.add(gdstk.Reference(c_l1m1_c_cdns_716492285224_, (7.32,3.025)))
addfx1.add(gdstk.Reference(c_l1m1_c_cdns_716492285224__, (1.12,3.235)))
addfx1.add(gdstk.Label('VDD', (4.825,4.145), layer=68, texttype=5))
addfx1.add(gdstk.Label('A', (3.695,2.395), layer=68, texttype=5))
addfx1.add(gdstk.Label('B', (4.615,1.55), layer=68, texttype=5))
addfx1.add(gdstk.Label('CI', (4.145,2.065), layer=68, texttype=5))
addfx1.add(gdstk.Label('CO', (6.455,1.855), layer=68, texttype=5))
addfx1.add(gdstk.Label('S', (7.375,1.855), layer=68, texttype=5))
addfx1.add(gdstk.Label('VSS', (4.825,0.005), layer=68, texttype=5))

lib.write_gds('ADDFX1.gds')
